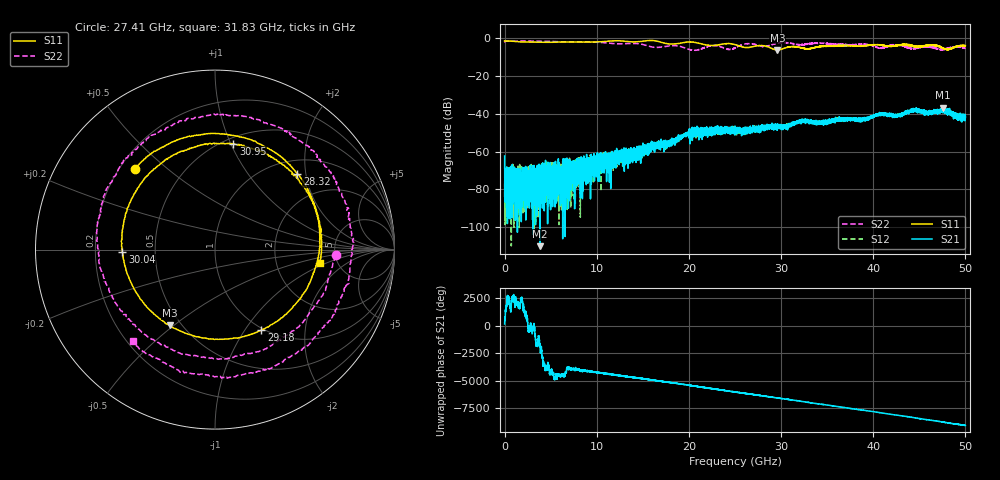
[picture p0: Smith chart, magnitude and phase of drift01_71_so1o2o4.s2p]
!Created with skrf (http://scikit-rf.org).
# Hz S RI R 50.0
!freq ReS11 ImS11 ReS21 ImS21 ReS12 ImS12 ReS22 ImS22
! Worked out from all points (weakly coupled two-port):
!   10001 points, 300 kHz to 50 GHz, reference 50 ohm
!   highest |S21| = -36.72 dB at 47.56 GHz (marker M1); lowest = -110.2 dB at 3.85 GHz (marker M2)
!   lowest |S11| = -6.2 dB at 29.61 GHz (marker M3), VSWR 2.93, Z = 21.8 - j24.2 ohm
!   |S11| at or under -10 dB: nowhere
!   |S22| runs from -6.4 to -1.4 dB; largest |S21 - S12| = 0.0035
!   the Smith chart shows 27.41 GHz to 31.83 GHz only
!   S11 on the Smith chart (normalised r, x): 27.41 GHz: 0.26, +0.39; 28.32 GHz: 1.30, +1.79; 29.18 GHz: 0.97, -1.19; 30.04 GHz: 0.32, -0.01; 30.95 GHz: 0.56, +1.02; 31.83 GHz: 3.68, -0.86
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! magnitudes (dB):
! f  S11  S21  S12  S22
! 300 kHz  -1.3  -62.4  -84.2  -2.1
! 325.3 MHz  -1.3  -71.8  -83.7  -1.4
! 3.85 GHz  -2.0  -110.2  -71.4  -1.5
! 5.585 GHz  -2.0  -73.4  -67.8  -1.7
! 7.135 GHz  -1.9  -79.6  -80.1  -1.9
! 8.335 GHz  -2.0  -71.6  -63.7  -1.8
! 16.67 GHz  -1.6  -56.6  -56.8  -4.8
! 18.62 GHz  -2.9  -53.7  -54.0  -3.9
! 20.47 GHz  -2.0  -49.1  -50.4  -6.3
! 22.62 GHz  -3.8  -49.5  -48.2  -3.8
! 25 GHz  -3.3  -48.7  -48.1  -5.0
! 27.41 GHz  -4.0  -47.6  -48.1  -3.4
! 28.32 GHz  -4.1  -47.4  -46.5  -4.3
! 29.18 GHz  -5.7  -46.5  -47.8  -3.0
! 29.61 GHz  -6.2  -45.6  -47.7  -2.6
! 30.04 GHz  -5.7  -47.1  -47.1  -2.2
! 30.95 GHz  -4.5  -45.9  -46.1  -2.5
! 31.83 GHz  -4.6  -43.6  -44.7  -3.3
! 33.34 GHz  -5.2  -44.4  -44.5  -2.7
! 41.67 GHz  -4.3  -41.0  -41.1  -4.2
! 47.56 GHz  -5.0  -36.7  -38.6  -6.0
! 50 GHz  -3.8  -41.9  -42.6  -5.3
